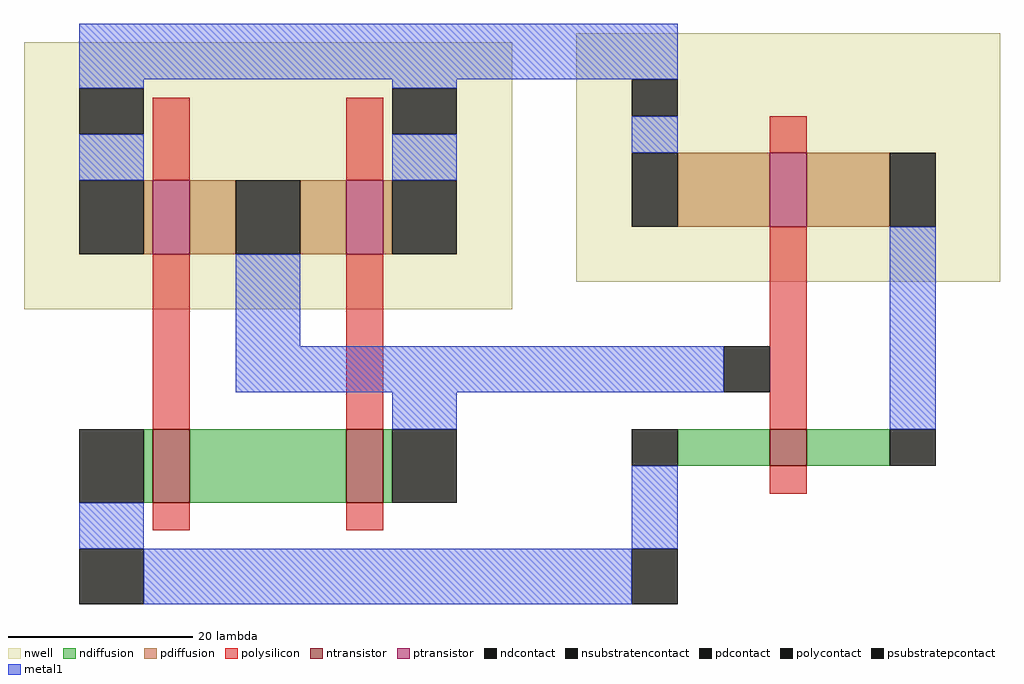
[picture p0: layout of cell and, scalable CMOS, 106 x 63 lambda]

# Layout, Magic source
magic
tech scmos
<< nwell >>
rect -6 -6 47 23
rect 54 -3 100 24
<< ntransistor >>
rect 8 -27 12 -19
rect 29 -27 33 -19
rect 75 -23 79 -19
<< ptransistor >>
rect 8 0 12 8
rect 29 0 33 8
rect 75 3 79 11
<< ndiffusion >>
rect 7 -27 8 -19
rect 12 -27 29 -19
rect 33 -27 34 -19
rect 65 -23 75 -19
rect 79 -23 88 -19
<< pdiffusion >>
rect 7 0 8 8
rect 12 0 17 8
rect 24 0 29 8
rect 33 0 34 8
rect 65 3 75 11
rect 79 3 88 11
<< ndcontact >>
rect 0 -27 7 -19
rect 34 -27 41 -19
rect 60 -23 65 -19
rect 88 -23 93 -19
<< pdcontact >>
rect 0 0 7 8
rect 17 0 24 8
rect 34 0 41 8
rect 60 3 65 11
rect 88 3 93 11
<< psubstratepcontact >>
rect 0 -38 7 -32
rect 60 -38 65 -32
<< nsubstratencontact >>
rect 0 13 7 18
rect 34 13 41 18
rect 60 15 65 19
<< polysilicon >>
rect 8 8 12 17
rect 29 8 33 17
rect 75 11 79 15
rect 8 -19 12 0
rect 29 -19 33 0
rect 75 -19 79 3
rect 75 -26 79 -23
rect 8 -30 12 -27
rect 29 -30 33 -27
<< polycontact >>
rect 70 -15 75 -10
<< metal1 >>
rect 0 19 65 25
rect 0 18 7 19
rect 0 8 7 13
rect 34 18 41 19
rect 34 8 41 13
rect 60 11 65 15
rect 17 -10 24 0
rect 17 -15 70 -10
rect 34 -19 41 -15
rect 88 -19 93 3
rect 0 -32 7 -27
rect 60 -32 65 -23
rect 7 -38 60 -32
<< end >>
